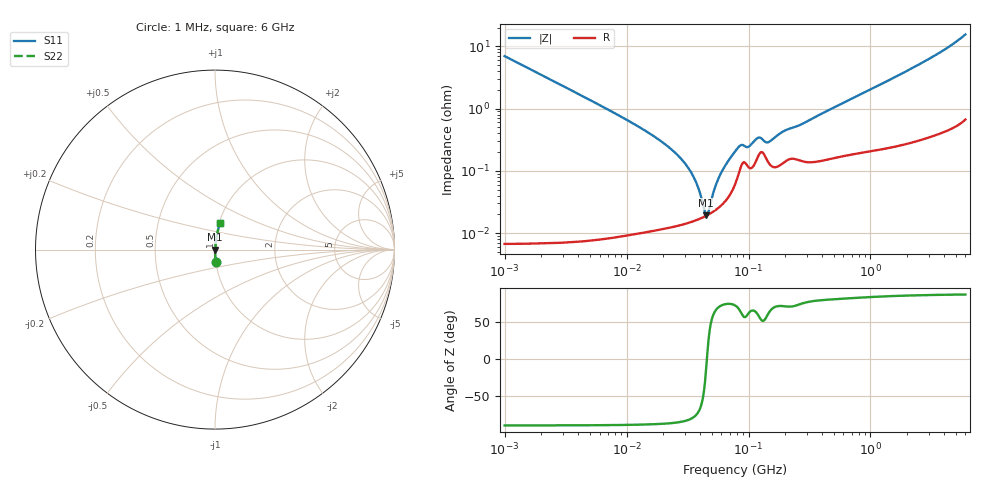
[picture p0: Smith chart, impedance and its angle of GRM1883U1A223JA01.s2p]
!Murata Part Number: GRM1883U1A223JA01
!These Parameters are Measured in Series Mode Connection
!Data Generated on Mar 30, 2021
!  o--ll--o
!Port1  Port2
!  o------o
!Operation Temp=25[degC], DC Bias Voltage=0[V]
!Freq. Start=1000[kHz] Stop=6[GHz] 401[Steps]
# Hz S RI R 50
!Freq.(Hz) S11(Real) S11(Imag) S21(Real) S21(Imag) S12(Real) S12(Imag) S22(Real) S22(Imag)
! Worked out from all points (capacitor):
!   401 points, 1 MHz to 6 GHz, reference 50 ohm
!   read as one part in series: C = 22.8 nF near 1.044 MHz
!   lowest |Z| = 19.5 mohm at 44.97 MHz (marker M1)
!   series resonance near 45.56 MHz, so ESL is about 530 pH
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1000000  0.00489 -0.0693  0.9951 0.0693  0.9951 0.0693  0.00489 -0.0693
4293785  0.000332 -0.0161  0.9997 0.0161  0.9997 0.0161  0.000332 -0.0161
1.0704e7  0.000131 -0.00614  0.9999 0.00614  0.9999 0.00614  0.000131 -0.00614
1.843659e7  0.000123 -0.00316  0.9999 0.00316  0.9999 0.00316  0.000123 -0.00316
2.554826e7  0.000133 -0.00188  0.9999 0.00188  0.9999 0.00188  0.000133 -0.00188
3.245342e7  0.000148 -0.00107  0.9999 0.00107  0.9999 0.00107  0.000148 -0.00107
3.779011e7  0.000163 -0.000584  0.9998 0.000584  0.9998 0.000584  0.000163 -0.000584
4.305766e7  0.000182 -0.000177  0.9998 0.000177  0.9998 0.000177  0.000182 -0.000177
4.497189e7  0.00019 -4.05e-05  0.9998 4.05e-05  0.9998 4.05e-05  0.00019 -4.05e-05
4.697123e7  0.000199 9.65e-05  0.9998 -9.65e-05  0.9998 -9.65e-05  0.000199 9.65e-05
5.236714e7  0.000227 0.000446  0.9998 -0.000446  0.9998 -0.000446  0.000227 0.000446
5.838291e7  0.000268 0.000812  0.9997 -0.000812  0.9997 -0.000812  0.000268 0.000812
7.745967e7  0.000607 0.00195  0.9994 -0.00195  0.9994 -0.00195  0.000607 0.00195
8.635799e7  0.00114 0.00231  0.9989 -0.00231  0.9989 -0.00231  0.00114 0.00231
1.005588e8  0.00113 0.00218  0.9989 -0.00218  0.9989 -0.00218  0.00113 0.00218
1.196694e8  0.00171 0.00293  0.9983 -0.00293  0.9983 -0.00293  0.00171 0.00293
1.455431e8  0.00137 0.00254  0.9986 -0.00254  0.9986 -0.00254  0.00137 0.00254
1.930997e8  0.00136 0.00408  0.9986 -0.00408  0.9986 -0.00408  0.00136 0.00408
3.325952e8  0.00142 0.00673  0.9986 -0.00673  0.9986 -0.00673  0.00142 0.00673
1.428092e9  0.00315 0.0285  0.9969 -0.0285  0.9969 -0.0285  0.00315 0.0285
3.408564e9  0.00881 0.071  0.9912 -0.071  0.9912 -0.071  0.00881 0.071
6e9  0.0295 0.149  0.9705 -0.149  0.9705 -0.149  0.0295 0.149
